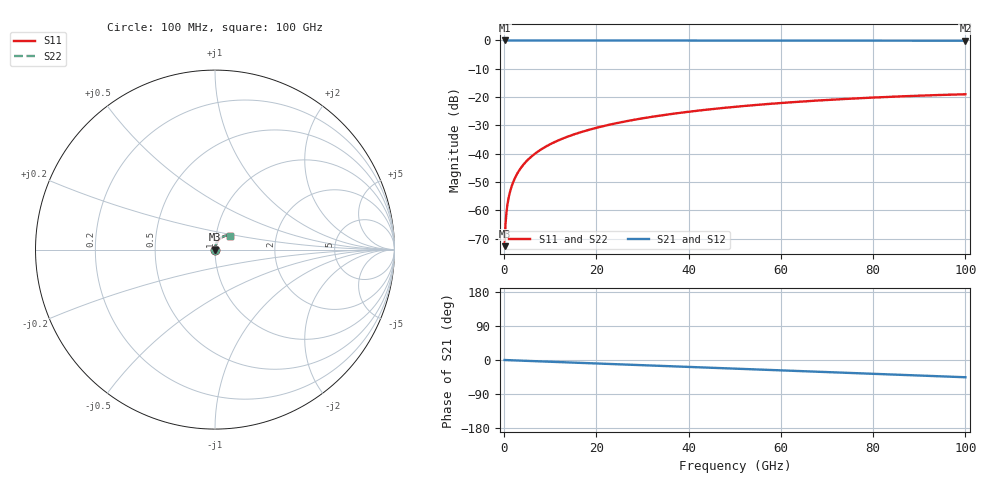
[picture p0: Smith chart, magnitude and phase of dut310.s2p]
! Touchstone file exported from HFSS 2026.1.0
!  File:  C:/ffzhzh/LocalFiles/Ansys_Project_Files/temp_train_TSV_310_1783509322_55944.aedt
!  Generated:  07:16:44 PM Jul  8, 2026
!  Design:  TSV
!  Project:  temp_train_TSV_310_1783509322_55944
! Variables:
!  h_bsmrdl = 2um
!  h_ox = 20um
!  h_rdl = 5um
!  h_sub = 89.63um
!  h_tmrdl = 5um
!  h_tsv = 89.63um
!  h_via = 3um
!  l_bsmrdl = 300um
!  l_sub = 419.9um
!  l_tmrdl = 200um
!  m_sub = 200um
!  pitch = 49.91um
!  r_tsv = 9.95um
!  s_tmrdl = 10um
!  w_bsmrdl = 18um
!  w_sub = 500um
!  w_tmrdl = 12um
!  x_tsv_center1 = 206um
!  x_tsv_center2 = 524um
!  x_tsv_center3 = 736um
!  x_tsv_center4 = 1054um
!  x_tsv_center5 = 1266um
!  x_tsv_center6 = 1584um
# GHz S MA R 50.000000
! Terminal data exported
! Port[1] = TSV1_1_T1
! Port[2] = TSV1_1_T2
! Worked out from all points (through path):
!   1000 points, 100 MHz to 100 GHz, reference 50 ohm
!   highest |S21| = 0.00 dB at 100 MHz (marker M1); lowest = -0.1 dB at 100 GHz (marker M2)
!   group delay of S21, straight-line fit = 1.26 ps
!   lowest |S11| = -72.6 dB at 100 MHz (marker M3), VSWR 1.00, Z = 50 + j0.0189 ohm
!   |S11| at or under -10 dB: start of sweep to end of sweep
!   |S22| runs from -72.6 to -19.0 dB; largest |S21 - S12| = 4.3e-15
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0.1  0.0002344 53.9  0.9999 -0.0  0.9999 -0.0  0.0002344 53.9
! Gamma 0 0 0 0
! Port Impedance 50 0 50 0
0.3  0.000581 72.8  0.9998 -0.1  0.9998 -0.1  0.000581 72.8
0.7  0.001246 77.8  0.9997 -0.3  0.9997 -0.3  0.001246 77.8
0.8  0.001403 78.3  0.9997 -0.4  0.9997 -0.4  0.001403 78.3
1  0.001713 79.1  0.9997 -0.5  0.9997 -0.5  0.001713 79.1
1.3  0.002172 80.1  0.9996 -0.6  0.9996 -0.6  0.002172 80.1
1.7  0.002777 80.9  0.9996 -0.8  0.9996 -0.8  0.002777 80.9
2.3  0.003675 81.7  0.9995 -1.1  0.9995 -1.1  0.003675 81.7
3  0.004711 82.1  0.9995 -1.4  0.9995 -1.4  0.004711 82.1
3.8  0.005882 82.4  0.9994 -1.8  0.9994 -1.8  0.005882 82.4
4.8  0.007333 82.5  0.9993 -2.2  0.9993 -2.2  0.007333 82.5
6  0.009063 82.5  0.9992 -2.8  0.9992 -2.8  0.009063 82.5
8.8  0.01307 81.9  0.999 -4.1  0.999 -4.1  0.01307 81.9
12.4  0.01817 80.8  0.9987 -5.7  0.9987 -5.7  0.01817 80.8
16.8  0.02431 79.3  0.9984 -7.7  0.9984 -7.7  0.02431 79.3
24.2  0.03447 76.4  0.9979 -11.1  0.9979 -11.1  0.03447 76.4
33.4  0.04673 72.5  0.9971 -15.3  0.9971 -15.3  0.04673 72.6
41.2  0.0567 69.2  0.9964 -18.8  0.9964 -18.8  0.0567 69.2
50.1  0.06751 65.3  0.9955 -22.9  0.9955 -22.9  0.06751 65.3
66.7  0.08576 58.0  0.9938 -30.4  0.9938 -30.4  0.08576 58.0
83.4  0.101 50.6  0.992 -38.0  0.992 -38.0  0.101 50.6
100  0.1124 43.2  0.9904 -45.5  0.9904 -45.5  0.1124 43.3
